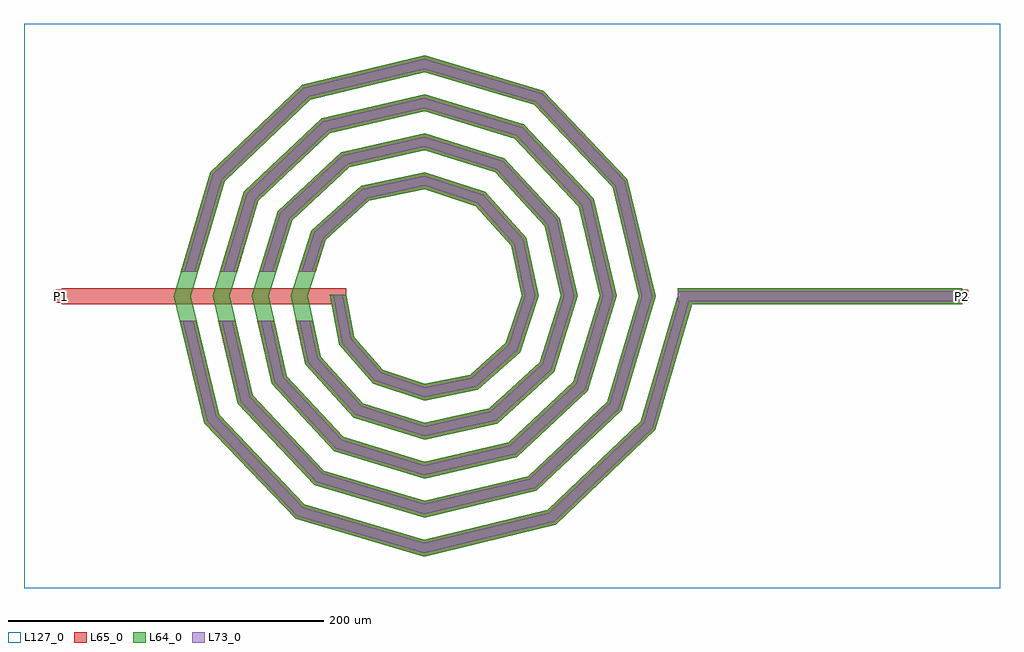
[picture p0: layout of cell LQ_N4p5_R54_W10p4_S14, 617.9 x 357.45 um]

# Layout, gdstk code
import gdstk
lib = gdstk.Library(unit=1e-6, precision=1e-09)
def R(c, l, rs):  # rectangles x0, y0, x1, y1
    for r in rs: c.add(gdstk.rectangle(r[:2], r[2:], *l))
def P(c, l, *ps):  # polygons
    for p in ps: c.add(gdstk.Polygon(p, *l))
L64_0 = (64, 0)
L65_0 = (65, 0)
L73_0 = (73, 0)
L127_0 = (127, 0)

lq_n4p5_r54_w10p4_s14 = lib.new_cell('LQ_N4p5_R54_W10p4_S14')
R(lq_n4p5_r54_w10p4_s14, L64_0, [(160.481,-5.2,340.481,5.2)])
P(lq_n4p5_r54_w10p4_s14, L64_0, [(-44.248,-25.967),(-26.376,-46.387),(0.339,-55.416),(29.02,-49.608),(51.712,-29.489),(61.584,0.308),(54.965,32.079),(32.597,57.04),(0.282,67.753),(-35.142,60.319),(-62.371,35.701),(-73.922,0.26),(-65.672,-38.209),(-38.803,-67.704),(0.242,-80.091),(41.278,-71.024),(73.038,-41.903),(86.261,0.225),(76.375,44.35),(45,78.374),(0.211,92.43),(-47.423,81.725),(-83.71,48.096),(-98.6,0.199),(-87.074,-50.497),(-51.191,-89.048),(0.187,-104.77),(53.573,-92.422),(94.386,-54.285),(110.939,0.178),(97.77,56.649),(57.378,99.724),(0.169,117.109),(-59.727,103.118),(-105.063,60.47),(-123.279,0.161),(-108.465,-62.805),(-63.561,-110.403),(0.153,-129.449),(65.883,-113.812),(115.743,-66.652),(135.619,0.146),(119.158,68.963),(69.743,121.083),(0.14,141.789),(-72.043,124.505),(-126.423,72.833),(-147.959,0.135),(-129.851,-75.123),(-75.922,-131.764),(0.129,-154.129),(78.203,-135.197),(137.105,-79.012),(160.691,1.463),(170.671,-1.463),(146.301,-84.612),(83.364,-144.646),(0.129,-164.893),(-81.532,-140.955),(-139.305,-80.275),(-158.723,0.135),(-135.608,78.451),(-77.185,133.965),(0.14,152.552),(75.371,130.262),(128.624,74.094),(146.382,0.146),(124.915,-72.291),(71.004,-123.284),(0.153,-140.212),(-69.212,-119.568),(-117.944,-67.912),(-134.042,0.161),(-114.221,66.134),(-64.821,112.604),(0.169,127.872),(63.056,108.873),(107.265,61.728),(121.701,0.178),(103.525,-59.979),(58.634,-101.926),(0.187,-115.531),(-56.903,-98.176),(-96.588,-55.54),(-109.361,0.199),(-92.827,53.827),(-52.444,91.25),(0.211,103.19),(50.753,87.476),(85.913,49.347),(97.02,0.225),(82.125,-47.681),(46.249,-80.577),(0.242,-90.849),(-44.61,-76.772),(-75.242,-43.148),(-84.678,0.26),(-71.418,41.542),(-40.044,69.908),(0.282,78.507),(38.477,66.063),(64.576,36.938),(72.336,0.308),(60.704,-35.415),(33.827,-59.246),(0.339,-66.164),(-32.358,-55.343),(-53.919,-30.71),(-59.724,0.997),(-49.516,0.997)])
R(lq_n4p5_r54_w10p4_s14, L65_0, [(-229.42,-5.2,-49.42,5.2), (160.481,-5.2,340.481,5.2), (-233.42,-4,-225.42,4), (336.481,-4,344.481,4)])
P(lq_n4p5_r54_w10p4_s14, L65_0, [(-129.851,-75.123),(-75.922,-131.764),(0.13,-154.129),(78.203,-135.197),(137.105,-79.012),(160.691,1.463),(170.671,-1.463),(146.301,-84.612),(83.364,-144.646),(0.13,-164.893),(-81.532,-140.955),(-139.306,-80.275),(-154.923,-15.6),(-144.224,-15.6)],
  [(-108.465,-62.805),(-63.562,-110.403),(0.153,-129.449),(65.884,-113.812),(115.743,-66.652),(135.619,0.147),(119.158,68.963),(69.743,121.083),(0.14,141.789),(-72.043,124.505),(-126.423,72.833),(-143.315,15.6),(-154.158,15.6),(-135.608,78.451),(-77.185,133.965),(0.14,152.553),(75.371,130.262),(128.624,74.095),(146.382,0.147),(124.915,-72.292),(71.004,-123.284),(0.153,-140.212),(-69.212,-119.568),(-117.944,-67.913),(-130.315,-15.6),(-119.628,-15.6)],
  [(-87.074,-50.497),(-51.191,-89.048),(0.188,-104.77),(53.573,-92.422),(94.386,-54.285),(110.94,0.178),(97.77,56.649),(57.378,99.724),(0.169,117.109),(-59.727,103.118),(-105.063,60.47),(-118.544,15.6),(-129.403,15.6),(-114.221,66.134),(-64.821,112.604),(0.169,127.872),(63.056,108.873),(107.265,61.728),(121.701,0.178),(103.525,-59.979),(58.635,-101.926),(0.188,-115.531),(-56.903,-98.176),(-96.588,-55.54),(-105.74,-15.6),(-95.071,-15.6)],
  [(-65.673,-38.209),(-38.803,-67.704),(0.242,-80.091),(41.278,-71.024),(73.038,-41.903),(86.261,0.225),(76.375,44.35),(45,78.374),(0.211,92.43),(-47.423,81.725),(-83.71,48.096),(-93.729,15.6),(-104.612,15.6),(-92.827,53.827),(-52.444,91.25),(0.211,103.19),(50.753,87.476),(85.913,49.347),(97.02,0.225),(82.125,-47.681),(46.249,-80.577),(0.242,-90.849),(-44.61,-76.773),(-75.242,-43.148),(-81.23,-15.6),(-70.587,-15.6)],
  [(-26.376,-46.387),(0.339,-55.416),(29.02,-49.608),(51.712,-29.489),(61.584,0.308),(54.965,32.079),(32.597,57.04),(0.282,67.753),(-35.142,60.319),(-62.371,35.701),(-68.828,15.6),(-79.751,15.6),(-71.419,41.542),(-40.044,69.908),(0.282,78.507),(38.477,66.063),(64.576,36.938),(72.336,0.308),(60.704,-35.415),(33.827,-59.246),(0.339,-66.164),(-32.358,-55.343),(-53.919,-30.71),(-59.724,0.997),(-49.517,0.997),(-44.248,-25.967)])
R(lq_n4p5_r54_w10p4_s14, L73_0, [(160.481,-3.2,340.481,3.2)])
P(lq_n4p5_r54_w10p4_s14, L73_0, [(-131.669,-76.114),(-77.001,-133.531),(0.08,-156.199),(79.196,-137.014),(138.873,-80.089),(162.61,0.9),(168.752,0.9),(144.532,-83.535),(82.372,-142.829),(0.08,-162.823),(-80.453,-139.187),(-137.487,-79.284),(-152.866,-15.6),(-146.282,-15.6)],
  [(-110.288,-63.787),(-64.648,-112.165),(0.094,-131.519),(66.868,-115.633),(117.507,-67.737),(137.689,0.09),(120.979,69.95),(70.825,122.848),(0.086,143.859),(-73.031,126.324),(-128.19,73.913),(-145.4,15.6),(-152.073,15.6),(-133.842,77.371),(-76.196,132.145),(0.086,150.483),(74.289,128.497),(126.804,73.108),(144.312,0.09),(123.151,-71.207),(70.019,-121.462),(0.094,-138.142),(-68.126,-117.806),(-116.121,-66.93),(-128.26,-15.6),(-121.683,-15.6)],
  [(-88.903,-51.467),(-52.29,-90.803),(0.115,-106.839),(54.546,-94.25),(96.143,-55.38),(113.009,0.109),(99.596,57.626),(58.47,101.484),(0.104,119.179),(-60.706,104.942),(-106.824,61.559),(-120.632,15.6),(-127.315,15.6),(-112.46,65.045),(-63.841,110.78),(0.104,125.802),(61.964,107.114),(105.439,60.751),(119.632,0.109),(101.767,-58.884),(57.661,-100.098),(0.115,-113.462),(-55.804,-96.421),(-94.758,-54.57),(-103.688,-15.6),(-97.123,-15.6)],
  [(-67.513,-39.159),(-39.92,-69.448),(0.149,-82.16),(42.234,-72.861),(74.786,-43.014),(88.33,0.139),(78.209,45.311),(46.107,80.124),(0.13,94.5),(-48.388,83.557),(-85.464,49.198),(-95.822,15.6),(-102.519,15.6),(-91.073,52.725),(-51.479,89.418),(0.13,101.121),(49.647,85.726),(84.079,48.386),(94.951,0.139),(80.378,-46.57),(45.293,-78.74),(0.149,-88.78),(-43.494,-75.029),(-73.402,-42.198),(-79.184,-15.6),(-72.634,-15.6)],
  [(-27.526,-48.109),(0.209,-57.483),(29.945,-51.461),(53.441,-30.628),(63.652,0.19),(56.813,33.014),(33.728,58.775),(0.174,69.821),(-36.085,62.163),(-64.111,36.825),(-70.928,15.6),(-77.651,15.6),(-69.679,40.419),(-39.102,68.064),(0.174,76.439),(37.346,64.328),(62.728,36.003),(70.268,0.19),(58.975,-34.275),(32.902,-57.392),(0.209,-64.097),(-31.207,-53.62),(-52.059,-29.798),(-57.761,0.614),(-51.479,0.614),(-46.108,-26.879)])
R(lq_n4p5_r54_w10p4_s14, L127_0, [(-253.42,-184.893,364.481,172.553)])
lq_n4p5_r54_w10p4_s14.add(gdstk.Label('P2', (340.481,0), layer=65, texttype=0))
lq_n4p5_r54_w10p4_s14.add(gdstk.Label('P1', (-229.42,0), layer=65, texttype=0))
lq_n4p5_r54_w10p4_s14.add(gdstk.Label('P2', (344.481,0), layer=145, texttype=0))
lq_n4p5_r54_w10p4_s14.add(gdstk.Label('P1', (-233.42,0), layer=145, texttype=0))

lib.write_gds('LQ_N4p5_R54_W10p4_S14.gds')
